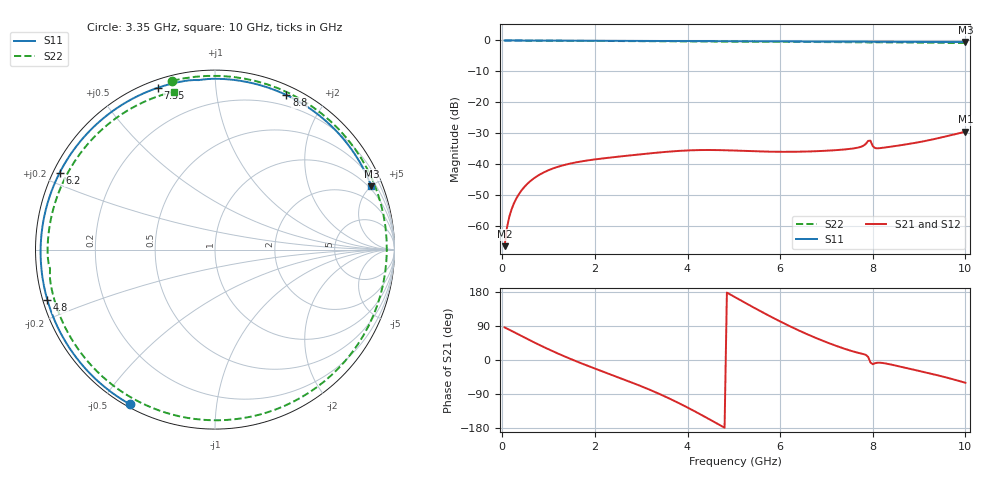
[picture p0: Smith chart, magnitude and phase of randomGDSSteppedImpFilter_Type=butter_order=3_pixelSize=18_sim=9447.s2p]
! freq	dB(S11)	phase(S11)	dB(S12)	phase(S12)
!  dB(S21)	phase(S21)	dB(S22)	phase(S22)
!S-par simulation data
#  GHz  S  DB  R 50
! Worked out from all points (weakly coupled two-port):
!   200 points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, 50 MHz to 10 GHz, reference 50 ohm
!   highest |S21| = -29.58 dB at 10 GHz (marker M1); lowest = -66.7 dB at 50 MHz (marker M2)
!   lowest |S11| = -0.5 dB at 10 GHz (marker M3), VSWR 32.37, Z = 41.1 + j250 ohm
!   |S11| at or under -10 dB: nowhere
!   |S22| runs from -0.8 to 0.0 dB; largest |S21 - S12| = 0
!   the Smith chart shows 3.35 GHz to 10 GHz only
!   S11 on the Smith chart (normalised r, x): 3.35 GHz: 0.01, -0.59; 4.8 GHz: 0.01, -0.15; 6.2 GHz: 0.02, +0.23; 7.55 GHz: 0.03, +0.71; 8.8 GHz: 0.09, +1.56; 10 GHz: 0.82, +4.99
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0.05  -0.00 -2.0  -66.66 85.9  -66.66 85.9  -0.01 -4.6
0.15  -0.01 -5.8  -57.20 80.0  -57.20 80.0  -0.02 -13.7
0.3  -0.01 -11.6  -51.29 70.5  -51.29 70.5  -0.04 -27.3
0.9  -0.04 -34.4  -42.72 33.9  -42.72 33.9  -0.09 -78.8
1.3  -0.06 -49.3  -40.50 11.8  -40.50 11.8  -0.12 -109.9
1.75  -0.08 -65.5  -39.09 -10.8  -39.09 -10.8  -0.15 -142.5
2.15  -0.10 -79.4  -38.26 -29.5  -38.26 -29.5  -0.17 -170.1
2.55  -0.11 -93.0  -37.58 -47.8  -37.58 -47.8  -0.20 162.4
3.35  -0.15 -118.9  -36.35 -87.3  -36.35 -87.3  -0.26 104.1
3.4  -0.15 -120.4  -36.28 -90.0  -36.28 -90.0  -0.27 100.3
3.8  -0.17 -132.9  -35.81 -113.0  -35.81 -113.0  -0.31 68.5
4.2  -0.19 -145.1  -35.54 -138.3  -35.54 -138.3  -0.35 35.8
4.8  -0.22 -163.3  -35.57 -178.8  -35.57 -178.8  -0.39 -11.8
5.05  -0.23 -170.8  -35.69 164.1  -35.69 164.1  -0.40 -30.1
5.6  -0.27 172.4  -35.98 127.2  -35.98 127.2  -0.42 -66.2
6.2  -0.30 153.8  -36.09 89.7  -36.09 89.7  -0.45 -99.3
6.7  -0.34 137.8  -35.93 61.9  -35.93 61.9  -0.48 -123.0
7.55  -0.39 109.4  -35.06 23.5  -35.06 23.5  -0.55 -158.3
7.95  -0.46 95.5  -32.48 -6.6  -32.48 -6.6  -0.68 -173.4
8.35  -0.44 81.4  -34.50 -10.9  -34.50 -10.9  -0.62 171.4
8.8  -0.46 65.2  -33.48 -23.3  -33.48 -23.3  -0.67 154.2
10  -0.54 22.1  -29.58 -60.1  -29.58 -60.1  -0.82 104.7
